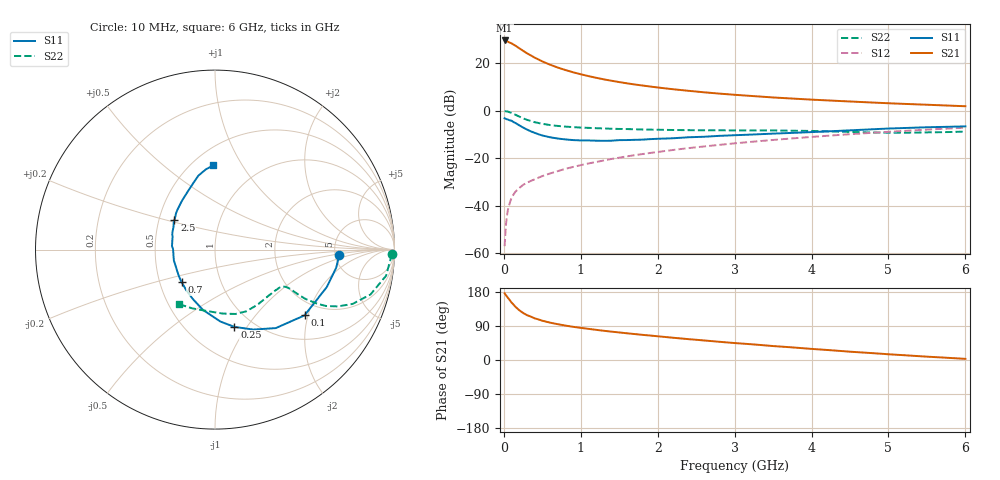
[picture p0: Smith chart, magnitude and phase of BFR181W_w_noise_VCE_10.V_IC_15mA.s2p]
! Infineon Technologies  Discrete & RF Semiconductors
! BFR181W
! VCE =  10. V,  IC =  15 mA
! Common Emitter S-Parameters:  Jan 2017
# GHz  S  MA  R  50
!  f  S11  S21  S12  S22
! GHz  MAG  ANG  MAG  ANG  MAG  ANG  MAG  ANG
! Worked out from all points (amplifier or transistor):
!   77 points, 10 MHz to 6 GHz, reference 50 ohm
!   highest |S21| = 29.6 dB at 10 MHz (marker M1)
!   |S21| within 3 dB of that: start of sweep to 186.8 MHz
!   unconditionally stable (mu >= 1): 917.9 MHz to 2.792 GHz
!   at 130 MHz: K = 0.32, MSG = 31.5 dB, |S12| = -35.1 dB
!   at 2.2 GHz: K = 1.04, MAG = 11.6 dB, |S12| = -16.5 dB
!   at 6 GHz: K = 0.85, MSG = 4.5 dB, |S12| = -7.1 dB
!   lowest NFmin = 1.47 dB at 450 MHz
!   S11 on the Smith chart (normalised r, x): 10 MHz: 5.43, -0.63; 100 MHz: 1.60, -1.90; 250 MHz: 0.82, -0.88; 700 MHz: 0.65, -0.25; 2.5 GHz: 0.60, +0.21; 6 GHz: 0.63, +0.76
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0.01  0.6928 -2.5  30.36 176.2  0.0014 90.4  0.9868 -1.5
0.02  0.6826 -8.6  29.89 172.9  0.0026 84.6  0.9793 -3.2
0.05  0.6567 -18.6  28.78 164.9  0.0077 83.4  0.9642 -8.7
0.1  0.619 -36.3  26.42 151.5  0.0146 76.7  0.902 -16.1
0.15  0.5534 -52.2  23.6 140.5  0.0196 70.5  0.8252 -21.5
0.2  0.4942 -64.4  20.78 131.4  0.0235 67.1  0.7545 -24.8
0.25  0.4439 -75.9  18.4 124.2  0.0274 65.1  0.6946 -26.9
0.3  0.4023 -85.6  16.3 118.4  0.0305 63.4  0.6446 -27.9
0.4  0.3429 -101.2  13.21 109.9  0.0359 64.5  0.5753 -28.6
0.5  0.3016 -114.2  10.97 103.7  0.042 64.9  0.5307 -28.4
0.6  0.2767 -125.5  9.377 98.6  0.0477 65.2  0.5005 -28.0
0.7  0.26 -135.7  8.159 94.5  0.0534 67.3  0.4794 -27.6
0.9  0.2411 -151.7  6.477 87.6  0.0654 68.3  0.4523 -27.7
1.1  0.2369 -165.1  5.382 82.2  0.0776 69.2  0.4364 -28.2
1.3  0.2328 -176.4  4.596 77.1  0.0896 69.6  0.4243 -29.5
1.5  0.2407 175.2  4.026 72.7  0.1027 69.7  0.4143 -31.3
2.1  0.2599 154.2  2.969 60.7  0.1423 68.2  0.3959 -39.4
2.5  0.2798 144.0  2.544 53.4  0.17 66.5  0.3891 -46.2
3.1  0.3097 131.1  2.117 43.3  0.2129 63.3  0.3853 -56.7
4.1  0.3614 114.1  1.687 27.9  0.2888 56.5  0.3719 -74.4
5.1  0.4276 101.3  1.42 13.9  0.368 48.1  0.3447 -99.3
6  0.469 91.2  1.247 3.0  0.4413 39.6  0.3644 -123.8
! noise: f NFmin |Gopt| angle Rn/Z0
0.45  1.47  0.04  14  0.21
0.9  1.52  0.04  31  0.21
1.9  1.95  0.13  -139  0.22
2.4  2.2  0.16  -109  0.28
